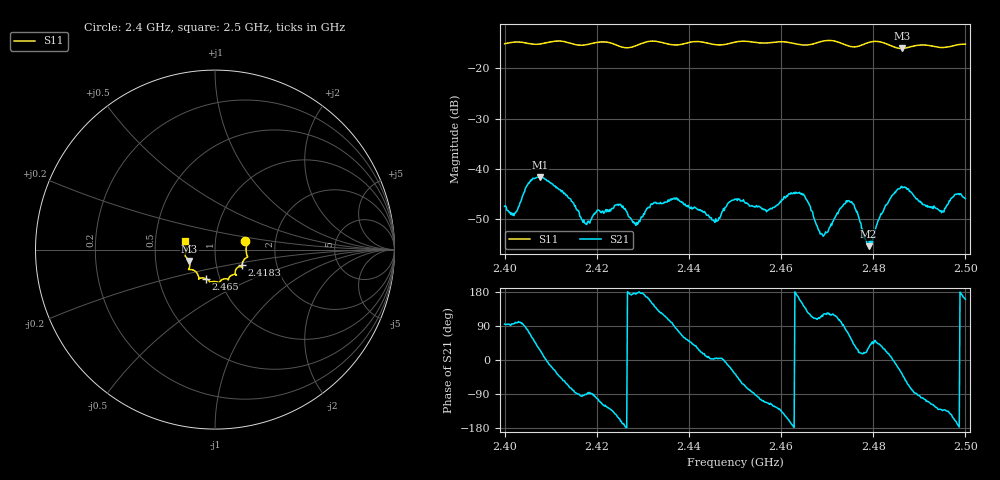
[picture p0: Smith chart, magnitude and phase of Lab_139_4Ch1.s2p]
# Hz S RI R 50
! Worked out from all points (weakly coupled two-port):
!   601 points, 2.4 GHz to 2.5 GHz, reference 50 ohm
!   highest |S21| = -41.61 dB at 2.4077 GHz (marker M1); lowest = -55.4 dB at 2.479 GHz (marker M2)
!   lowest |S11| = -16.1 dB at 2.4862 GHz (marker M3), VSWR 1.37, Z = 37.2 - j4.8 ohm
!   |S11| at or under -10 dB: start of sweep to end of sweep
!   S12 and S22 are empty: the file has one direction only
!   S11 on the Smith chart (normalised r, x): 2.4 GHz: 1.40, +0.14; 2.4183 GHz: 1.33, -0.24; 2.465 GHz: 0.86, -0.28; 2.5 GHz: 0.71, +0.07
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2.4e9  0.1688 0.047  -0.000357 0.00423  0 0  0 0
2.402167e9  0.1781 0.0368  -0.000395 0.0036  0 0  0 0
2.405167e9  0.1751 0.0174  0.00186 0.00698  0 0  0 0
2.407667e9  0.1736 -0.0117  0.00744 0.00371  0 0  0 0
2.416667e9  0.1549 -0.0681  -0.000288 -0.00317  0 0  0 0
2.418333e9  0.1502 -0.087  0.000239 -0.00291  0 0  0 0
2.424667e9  0.1371 -0.0951  -0.00381 -0.00207  0 0  0 0
2.428667e9  0.1126 -0.1254  -0.00293 0.000203  0 0  0 0
2.433333e9  0.1175 -0.1408  -0.00296 0.00345  0 0  0 0
2.437167e9  0.0894 -0.1449  0.000552 0.00511  0 0  0 0
2.445833e9  0.055 -0.1621  0.00318 0.000217  0 0  0 0
2.45e9  0.0262 -0.18  0.00404 -0.00299  0 0  0 0
2.457e9  -0.00953 -0.1779  -0.0015 -0.00354  0 0  0 0
2.465e9  -0.0525 -0.1615  -0.00425 0.00342  0 0  0 0
2.466667e9  -0.0712 -0.1575  -0.00161 0.00346  0 0  0 0
2.469e9  -0.0891 -0.1629  -0.000929 0.00198  0 0  0 0
2.475e9  -0.1008 -0.13  0.00232 0.00404  0 0  0 0
2.479e9  -0.1419 -0.111  0.00144 0.000912  0 0  0 0
2.483333e9  -0.1412 -0.0967  0.00454 0.00142  0 0  0 0
2.486167e9  -0.1439 -0.0631  0.00554 -0.00377  0 0  0 0
2.494833e9  -0.1605 0.00109  -0.00242 -0.00275  0 0  0 0
2.5e9  -0.1666 0.0471  -0.00475 0.00171  0 0  0 0
